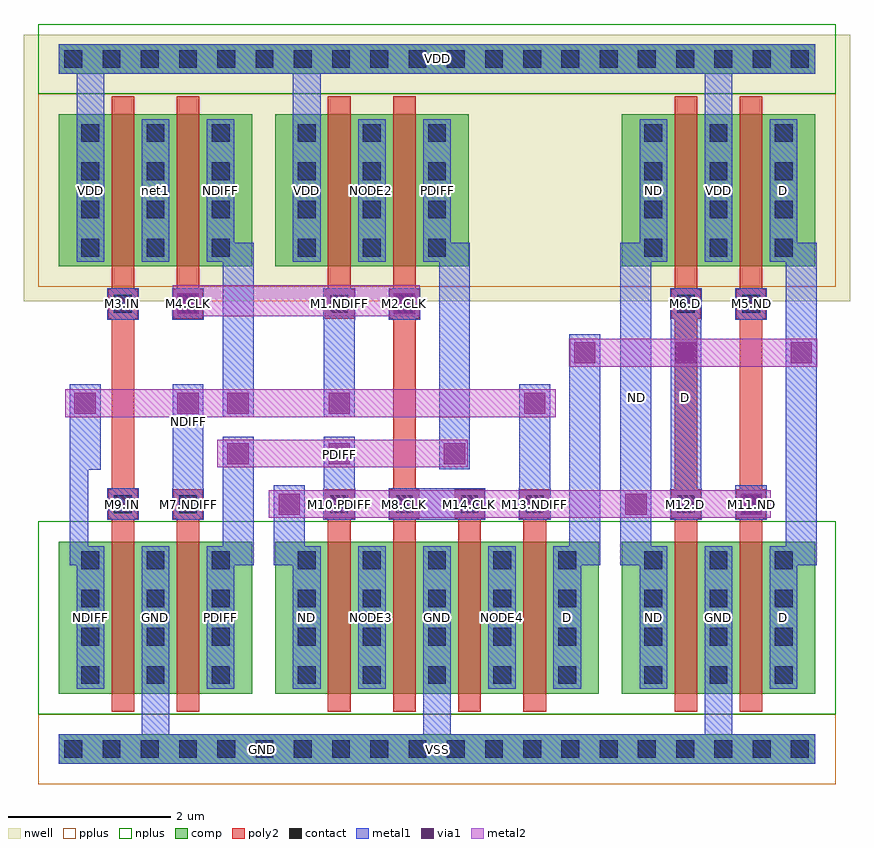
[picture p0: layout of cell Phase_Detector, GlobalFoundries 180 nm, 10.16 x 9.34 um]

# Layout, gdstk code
import gdstk
lib = gdstk.Library(unit=1e-6, precision=5e-09)
def R(c, l, rs):  # rectangles x0, y0, x1, y1
    for r in rs: c.add(gdstk.rectangle(r[:2], r[2:], *l))
def A(c, l, x, y, w, h, nx, ny, dx, dy):  # array of equal rectangles
    R(c, l, [(x+i*dx, y+j*dy, x+i*dx+w, y+j*dy+h) for i in range(nx) for j in range(ny)])
nwell = (21, 0)
comp = (22, 0)
poly2 = (30, 0)
pplus = (31, 0)
nplus = (32, 0)
contact = (33, 0)
metal1 = (34, 0)
via1 = (35, 0)
metal2 = (36, 0)

phase_detector = lib.new_cell('Phase_Detector')
R(phase_detector, nwell, [(-0.43,5.68,9.73,8.96)])
R(phase_detector, comp, [(0,0,9.3,0.36), (0,0.86,2.38,2.73), (2.66,0.86,6.64,2.73), (6.92,0.86,9.3,2.73), (0,6.11,2.38,7.98), (2.66,6.11,5.04,7.98), (6.92,6.11,9.3,7.98), (0,8.48,9.3,8.84)])
A(phase_detector, poly2, 3.31, 0.64, 0.28, 2.73, 4, 1, 0.8, 0)
A(phase_detector, poly2, 3.27, 3.01, 0.36, 0.36, 4, 1, 0.8, 0)
A(phase_detector, poly2, 0.65, 3.37, 0.28, 2.1, 3, 1, 3.46, 0)
R(phase_detector, poly2, [(0.65,0.64,0.93,3.37), (1.45,0.64,1.73,3.37), (7.57,0.64,7.85,3.37), (8.37,0.64,8.65,3.37), (0.61,3.01,0.97,3.37), (1.41,3.01,1.77,3.37), (7.53,3.01,7.89,3.37), (8.33,3.01,8.69,3.37), (8.37,3.37,8.65,5.47), (0.61,5.47,0.97,5.83), (0.65,5.47,0.93,8.2), (1.41,5.47,1.77,5.83), (1.45,5.47,1.73,8.2), (3.27,5.47,3.63,5.83), (3.31,5.47,3.59,8.2), (4.07,5.47,4.43,5.83), (4.11,5.47,4.39,8.2), (7.53,5.47,7.89,5.83), (7.57,5.47,7.85,8.2), (8.33,5.47,8.69,5.83), (8.37,5.47,8.65,8.2)])
R(phase_detector, pplus, [(-0.25,-0.25,9.55,0.61), (-0.25,5.86,9.55,8.23)])
R(phase_detector, nplus, [(-0.25,0.61,9.55,2.98), (-0.25,8.23,9.55,9.09)])
A(phase_detector, contact, 0.07, 0.07, 0.22, 0.22, 20, 2, 0.47, 8.48)
A(phase_detector, contact, 0.28, 0.98, 0.22, 0.22, 3, 4, 0.8, 0.47)
A(phase_detector, contact, 2.94, 0.98, 0.22, 0.22, 5, 4, 0.8, 0.47)
A(phase_detector, contact, 7.2, 0.98, 0.22, 0.22, 3, 4, 0.8, 0.47)
A(phase_detector, contact, 3.34, 3.08, 0.22, 0.22, 4, 1, 0.8, 0)
A(phase_detector, contact, 0.28, 6.23, 0.22, 0.22, 3, 4, 0.8, 0.47)
A(phase_detector, contact, 2.94, 6.23, 0.22, 0.22, 3, 4, 0.8, 0.47)
A(phase_detector, contact, 7.2, 6.23, 0.22, 0.22, 3, 4, 0.8, 0.47)
R(phase_detector, contact, [(0.68,3.08,0.9,3.3), (1.48,3.08,1.7,3.3), (7.6,3.08,7.82,3.3), (8.4,3.08,8.62,3.3), (0.68,5.54,0.9,5.76), (1.48,5.54,1.7,5.76), (3.34,5.54,3.56,5.76), (4.14,5.54,4.36,5.76), (7.6,5.54,7.82,5.76), (8.4,5.54,8.62,5.76)])
A(phase_detector, metal1, 1.02, 0.36, 0.34, 0.56, 3, 1, 3.46, 0)
A(phase_detector, metal1, 0.22, 0.92, 0.34, 1.75, 3, 2, 0.8, 5.25)
A(phase_detector, metal1, 2.88, 0.92, 0.34, 1.75, 5, 1, 0.8, 0)
A(phase_detector, metal1, 7.14, 0.92, 0.34, 1.75, 3, 2, 0.8, 5.25)
A(phase_detector, metal1, 3.255, 2.995, 0.39, 0.39, 4, 1, 0.8, 0)
A(phase_detector, metal1, 2.88, 6.17, 0.34, 1.75, 3, 1, 0.8, 0)
R(phase_detector, metal1, [(0,0,9.3,0.36), (0.135,2.44,0.56,2.67), (1.82,2.44,2.395,2.67), (2.645,2.44,3.22,2.67), (6.08,2.44,6.655,2.67), (6.905,2.44,7.48,2.67), (8.74,2.44,9.315,2.67), (0.135,2.67,0.365,3.615), (2.015,2.67,2.395,4.02), (2.645,2.67,3.025,3.42), (6.275,2.67,6.655,5.28), (6.905,2.67,7.285,6.17), (8.935,2.67,9.315,6.17), (0.595,2.995,0.985,3.385), (1.395,2.995,1.785,3.385), (4.055,2.995,5.245,3.385), (7.515,2.995,7.905,3.385), (8.315,2.995,8.705,3.385), (8.315,2.995,8.705,3.42), (1.4,3.385,1.78,4.66), (3.26,3.385,3.64,4.02), (5.66,3.385,6.04,4.66), (7.52,3.385,7.9,5.455), (0.135,3.615,0.515,4.66), (4.675,3.62,5.055,6.17), (2.015,4.26,2.395,6.17), (3.26,4.26,3.64,5.455), (0.595,5.455,0.985,5.845), (1.395,5.455,1.785,5.845), (1.395,5.455,1.785,5.845), (3.255,5.455,3.645,5.845), (4.055,5.455,4.445,5.845), (4.055,5.455,4.445,5.845), (7.515,5.455,7.905,5.845), (8.315,5.455,8.705,5.845), (1.82,6.17,2.395,6.4), (4.48,6.17,5.055,6.4), (6.905,6.17,7.48,6.4), (8.74,6.17,9.315,6.4), (0.22,7.92,0.56,8.48), (2.88,7.92,3.22,8.48), (7.94,7.92,8.28,8.48), (0,8.48,9.3,8.84)])
R(phase_detector, via1, [(2.705,3.06,2.965,3.32), (6.965,3.06,7.225,3.32), (8.38,3.06,8.64,3.32), (2.075,3.68,2.335,3.94), (3.32,3.68,3.58,3.94), (4.735,3.68,4.995,3.94), (0.195,4.3,0.455,4.56), (1.46,4.3,1.72,4.56), (2.075,4.3,2.335,4.56), (3.32,4.3,3.58,4.56), (5.72,4.3,5.98,4.56), (6.335,4.92,6.595,5.18), (7.58,4.92,7.84,5.18), (8.995,4.92,9.255,5.18), (1.46,5.52,1.72,5.78), (4.12,5.52,4.38,5.78)])
R(phase_detector, metal2, [(2.58,3.02,8.75,3.36), (1.95,3.64,5.03,3.98), (0.08,4.26,6.11,4.6), (6.28,4.88,9.32,5.22), (1.4,5.5,4.44,5.88)])
phase_detector.add(gdstk.Label('NDIFF', (0.39,1.795), layer=34, texttype=0))
phase_detector.add(gdstk.Label('GND', (1.19,1.795), layer=34, texttype=0))
phase_detector.add(gdstk.Label('PDIFF', (1.99,1.795), layer=34, texttype=0))
phase_detector.add(gdstk.Label('M9.IN', (0.79,3.19), layer=34, texttype=0))
phase_detector.add(gdstk.Label('M7.NDIFF', (1.59,3.19), layer=34, texttype=0))
phase_detector.add(gdstk.Label('ND', (3.05,1.795), layer=34, texttype=0))
phase_detector.add(gdstk.Label('NODE3', (3.85,1.795), layer=34, texttype=0))
phase_detector.add(gdstk.Label('GND', (4.65,1.795), layer=34, texttype=0))
phase_detector.add(gdstk.Label('NODE4', (5.45,1.795), layer=34, texttype=0))
phase_detector.add(gdstk.Label('D', (6.25,1.795), layer=34, texttype=0))
phase_detector.add(gdstk.Label('M10.PDIFF', (3.45,3.19), layer=34, texttype=0))
phase_detector.add(gdstk.Label('M8.CLK', (4.25,3.19), layer=34, texttype=0))
phase_detector.add(gdstk.Label('M14.CLK', (5.05,3.19), layer=34, texttype=0))
phase_detector.add(gdstk.Label('M13.NDIFF', (5.85,3.19), layer=34, texttype=0))
phase_detector.add(gdstk.Label('ND', (7.31,1.795), layer=34, texttype=0))
phase_detector.add(gdstk.Label('GND', (8.11,1.795), layer=34, texttype=0))
phase_detector.add(gdstk.Label('D', (8.91,1.795), layer=34, texttype=0))
phase_detector.add(gdstk.Label('M12.D', (7.71,3.19), layer=34, texttype=0))
phase_detector.add(gdstk.Label('M11.ND', (8.51,3.19), layer=34, texttype=0))
phase_detector.add(gdstk.Label('VDD', (0.39,7.045), layer=34, texttype=0))
phase_detector.add(gdstk.Label('net1', (1.19,7.045), layer=34, texttype=0))
phase_detector.add(gdstk.Label('NDIFF', (1.99,7.045), layer=34, texttype=0))
phase_detector.add(gdstk.Label('M3.IN', (0.79,5.65), layer=34, texttype=0))
phase_detector.add(gdstk.Label('M4.CLK', (1.59,5.65), layer=34, texttype=0))
phase_detector.add(gdstk.Label('VDD', (3.05,7.045), layer=34, texttype=0))
phase_detector.add(gdstk.Label('NODE2', (3.85,7.045), layer=34, texttype=0))
phase_detector.add(gdstk.Label('PDIFF', (4.65,7.045), layer=34, texttype=0))
phase_detector.add(gdstk.Label('M1.NDIFF', (3.45,5.65), layer=34, texttype=0))
phase_detector.add(gdstk.Label('M2.CLK', (4.25,5.65), layer=34, texttype=0))
phase_detector.add(gdstk.Label('ND', (7.31,7.045), layer=34, texttype=0))
phase_detector.add(gdstk.Label('VDD', (8.11,7.045), layer=34, texttype=0))
phase_detector.add(gdstk.Label('D', (8.91,7.045), layer=34, texttype=0))
phase_detector.add(gdstk.Label('M6.D', (7.71,5.65), layer=34, texttype=0))
phase_detector.add(gdstk.Label('M5.ND', (8.51,5.65), layer=34, texttype=0))
phase_detector.add(gdstk.Label('VSS', (4.65,0.18), layer=34, texttype=0))
phase_detector.add(gdstk.Label('VDD', (4.65,8.66), layer=34, texttype=0))
phase_detector.add(gdstk.Label('IN', (0.79,3.19), layer=34, texttype=10))
phase_detector.add(gdstk.Label('CLK', (5.05,3.19), layer=34, texttype=10))
phase_detector.add(gdstk.Label('NDIFF', (1.59,4.2), layer=34, texttype=10))
phase_detector.add(gdstk.Label('PDIFF', (3.45,3.8), layer=34, texttype=10))
phase_detector.add(gdstk.Label('D', (7.71,4.5), layer=34, texttype=10))
phase_detector.add(gdstk.Label('ND', (7.1,4.5), layer=34, texttype=10))
phase_detector.add(gdstk.Label('VDD', (4.65,8.66), layer=34, texttype=10))
phase_detector.add(gdstk.Label('GND', (2.5,0.18), layer=34, texttype=10))

lib.write_gds('Phase_Detector.gds')
